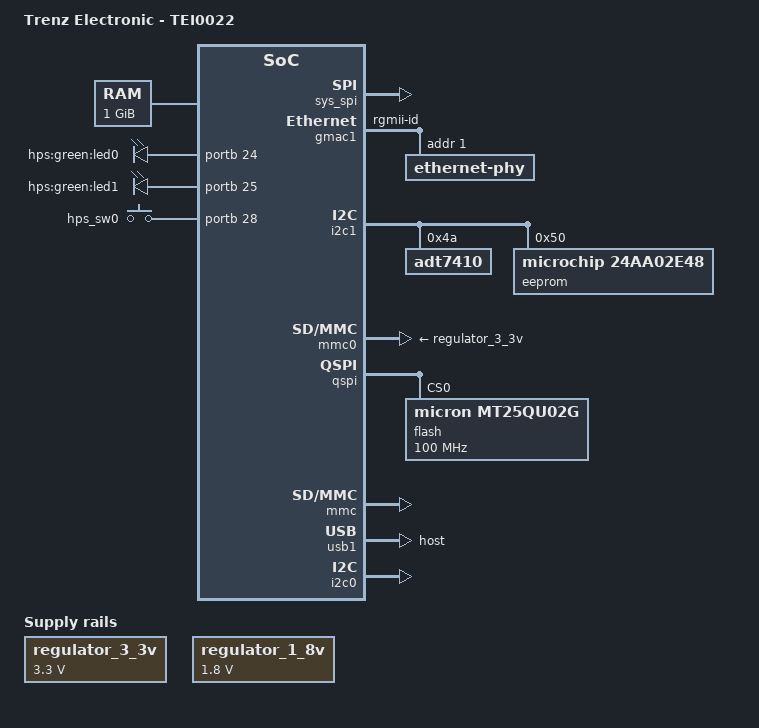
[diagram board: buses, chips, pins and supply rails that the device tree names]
// SPDX-License-Identifier: GPL-2.0+
/*
 * Copyright (C) 2013 Steffen Trumtrar <s.trumtrar@pengutronix.de>
 */
/*
 *  Blah Blah (B) 2025 Sparkletron <electrobs@gmail.com> 
 */

#include "socfpga_cyclone5.dtsi"
#include <dt-bindings/interrupt-controller/irq.h>

/ {
	model = "Trenz Electronic - TEI0022";
	compatible = "altr,socfpga-cyclone5", "altr,socfpga";

	chosen {
		bootargs = "earlyprintk";
		stdout-path = "serial0:115200n8";
	};

	memory@0 {
		name = "memory";
		device_type = "memory";
		reg = <0x0 0x40000000>; /* 1GB */
	};

	aliases {
		/* this allow the ethaddr uboot environmnet variable contents
		 * to be added to the gmac1 device tree blob.
		 */
		ethernet0 = &gmac1;
	};

	leds {
		compatible = "gpio-leds";

		hps_led0 {
			label = "hps:green:led0";
			gpios = <&portb 24 0>;	/* HPS_GPIO53 */
			linux,default-trigger = "heartbeat";
		};

		hps_led1 {
			label = "hps:green:led1";
			gpios = <&portb 25 0>;	/* HPS_GPIO54 */
			linux,default-trigger = "heartbeat";
		};
	};

	gpio-keys {
		compatible = "gpio-keys";

		hps_sw0 {
			label = "hps_sw0";
			gpios = <&portb 28 0>;	/* HPS_GPIO57 */
			linux,input-type = <5>;	/* EV_SW */
			linux,code = <0x1>;	/* KEY_ESC */
		};

	};

	regulator_3_3v: regulator {
		compatible = "regulator-fixed";
		regulator-name = "VCC3P3";
		regulator-min-microvolt = <3300000>;
		regulator-max-microvolt = <3300000>;
	};
	
	regulator_1_8v: 1-8-v-regulator {
		compatible = "regulator-fixed";
		regulator-name = "1.8V";
		regulator-min-microvolt = <1800000>;
		regulator-max-microvolt = <1800000>;
		regulator-always-on;
	};
	
	soc {
		sys_hps_bridges: bridge@ff200000 {
			compatible = "simple-bus";
			reg = <0xff200000 0x00200000>;
			#address-cells = <1>;
			#size-cells = <1>;
			ranges = <0x00000000 0xff200000 0x00200000>;

			gpio: gpio@20 {
				compatible = "altr,pio-1.0";
				reg = <0x00000020 0x00000010>;
				altr,gpio-bank-width = <32>;
				resetvalue = <0>;
				#gpio-cells = <2>;
				gpio-controller;
			};

			sys_spi: spi@40 {
				compatible = "altr,spi-1.0";
				reg = <0x00000040 0x00000020>;
				interrupt-parent = <&intc>;
				interrupts = <0 26 IRQ_TYPE_LEVEL_HIGH>;
				#address-cells = <0x1>;
				#size-cells = <0x0>;
			};
		};
	};
};

&gmac1 {

	#address-cells = <1>;
	#size-cells = <0>;

	status = "okay";
	phy-mode = "rgmii-id";

	ethernet-phy@1 {
		reg = <1>;
		adi,rx-internal-delay-ps = <2000>;
		adi,tx-internal-delay-ps = <2000>;
	};
};

&gpio0 {
	status = "okay";
};

&gpio1 {
	status = "okay";
};

&gpio2 {
	status = "okay";
};


&i2c1 {
	status = "okay";
	
	adt7410: adt7410@4a {
		compatible = "adt7410";
		reg = <0x4a>;
	};

	eeprom: eeprom@50 {
		compatible = "microchip,24aa02e48","atmel,24c02";
		reg = <0x50>;
	};
};

&mmc0 {
	vmmc-supply = <&regulator_3_3v>;
	vqmmc-supply = <&regulator_3_3v>;
	status = "okay";
};

&qspi {
	status = "okay";

	flash: flash@0 {
		#address-cells = <1>;
		#size-cells = <1>;
		compatible = "micron,mt25qu02g", "jedec,spi-nor";
		reg = <0>;
		spi-max-frequency = <100000000>;

		m25p,fast-read;
		cdns,page-size = <256>;
		cdns,block-size = <16>;
		cdns,read-delay = <4>;
		cdns,tshsl-ns = <50>;
		cdns,tsd2d-ns = <50>;
		cdns,tchsh-ns = <4>;
		cdns,tslch-ns = <4>;
	};
};

&mmc {
	status = "okay";
};

&uart0 {
	clock-frequency = <100000000>;
};

&usb1 {
	status = "okay";
	dr_mode = "host";
};

&i2c0 {
	status = "okay";
	speed-mode = <0>;
};
